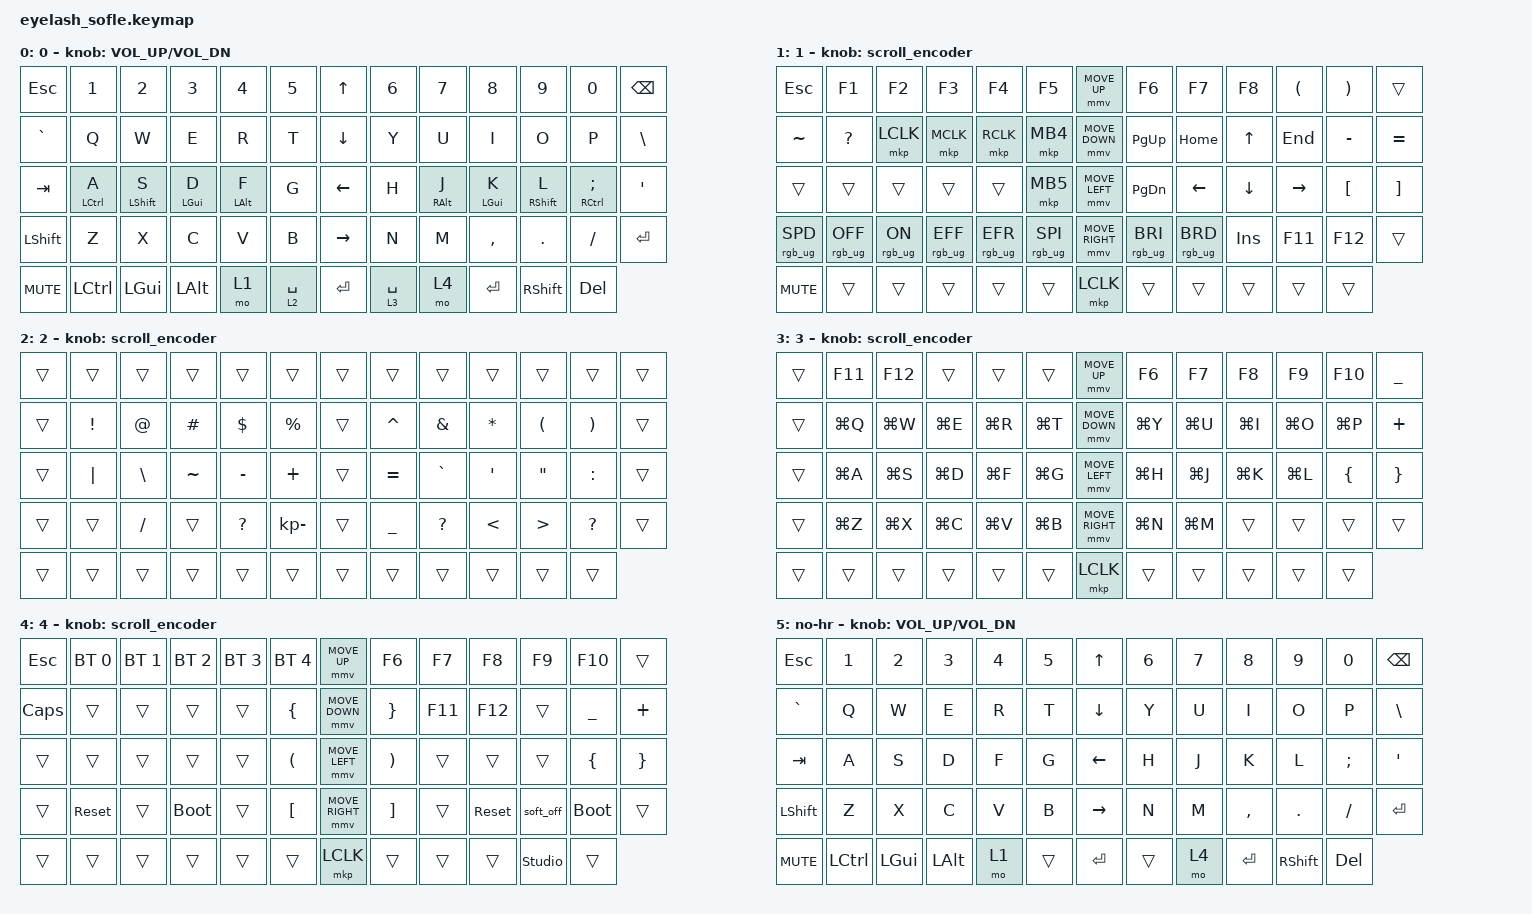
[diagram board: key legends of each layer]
#include <dt-bindings/zmk/mouse.h>
#include <input/processors.dtsi>
#include <behaviors.dtsi>
#include <dt-bindings/zmk/bt.h>
#include <dt-bindings/zmk/keys.h>
#include <dt-bindings/zmk/pointing.h>
#include <dt-bindings/zmk/pointing.h>
#include <dt-bindings/zmk/pointing.h>
#include <dt-bindings/zmk/rgb.h>

/*

   &mmv_input_listener {
       input-processors = <&zip_xy_scaler 2 1>;
   };

   &msc_input_listener {
       input-processors = <&zip_xy_scaler 2 1>;
   };

 */

#define ZMK_MOUSE_DEFAULT_MOVE_VAL 1200  // 600
#define ZMK_MOUSE_DEFAULT_SCRL_VAL 20    // 10

/ {
    behaviors {
        mmv {
            acceleration-exponent = <1>;      // 1
            time-to-max-speed-ms = <900>;    // 40
            delay-ms = <0>;                   // 0
        };

        msc {
            acceleration-exponent = <1>;      // 0
            time-to-max-speed-ms = <400>;      // 500
            delay-ms = <0>;                   //   10
        };
    };

    scroll_encoder: scroll_encoder {
        compatible = "zmk,behavior-sensor-rotate";
        #sensor-binding-cells = <0>;
        bindings = <&msc SCRL_DOWN>, <&msc SCRL_UP>;

        tap-ms = <30>;
    };

    hml: hml {
        compatible = "zmk,behavior-hold-tap";
        label = "HML";
        bindings = <&kp>, <&kp>;

        #binding-cells = <2>;
        tapping-term-ms = <280>;
        quick-tap-ms = <175>;
        require-prior-idle-ms = <150>;
        flavor = "balanced";
        hold-trigger-key-positions = <59 60 46 33 20 7 8 21 8 10 11 12 21 22 23 24 25 34 35 36 37 38 47 48 49 50 51 61 62 63 9>;
        hold-trigger-on-release;
    };

    hmr: hmr {
        compatible = "zmk,behavior-hold-tap";
        label = "HMR";
        bindings = <&kp>, <&kp>;

        #binding-cells = <2>;
        tapping-term-ms = <280>;
        quick-tap-ms = <175>;
        require-prior-idle-ms = <150>;
        flavor = "balanced";
        hold-trigger-key-positions = <0 1 2 3 4 5 13 14 15 16 17 18 26 27 28 29 30 31 39 40 41 42 43 44 53 54 55 56 57 52>;
        hold-trigger-on-release;
    };

    hmmods: hmmods {
        compatible = "zmk,behavior-hold-tap";
        label = "HMMODS";
        bindings = <&kp>, <&kp>;

        #binding-cells = <2>;
        tapping-term-ms = <200>;
        quick-tap-ms = <180>;
        flavor = "tap-preferred";
    };

    combos {
        compatible = "zmk,combos";

        toggle-home-row {
            timeout-ms = <30>;
            bindings = <&tog 5>;
            key-positions = <56 60>;
        };

        left_bracket {
            timeout-ms = <30>;
            bindings = <&kp LEFT_BRACKET>;
            key-positions = <43 44>;
        };

        right_bracket {
            timeout-ms = <30>;
            bindings = <&kp RIGHT_BRACKET>;
            key-positions = <46 47>;
        };

        left_paren {
            timeout-ms = <30>;
            bindings = <&kp LEFT_PARENTHESIS>;
            key-positions = <30 31>;
        };

        right_paren {
            timeout-ms = <30>;
            bindings = <&kp RIGHT_PARENTHESIS>;
            key-positions = <33 34>;
        };

        left_brace {
            timeout-ms = <30>;
            bindings = <&kp LEFT_BRACE>;
            key-positions = <17 18>;
        };

        right_brace {
            timeout-ms = <30>;
            bindings = <&kp RIGHT_BRACE>;
            key-positions = <20 21>;
        };

        pipe {
            timeout-ms = <30>;
            bindings = <&kp PIPE>;
            key-positions = <31 33>;
        };

        back_slash {
            timeout-ms = <30>;
            bindings = <&kp BACKSLASH>;
            key-positions = <18 20>;
        };
    };

    keymap {
        compatible = "zmk,keymap";

        L0 {
            bindings = <
&kp ESC     &kp N1           &kp N2            &kp N3          &kp N4          &kp N5         &kp UP_ARROW     &kp N6       &kp N7          &kp N8          &kp N9            &kp N0              &kp BACKSPACE
&kp GRAVE   &kp Q            &kp W             &kp E           &kp R           &kp T          &kp DOWN_ARROW   &kp Y        &kp U           &kp I           &kp O             &kp P               &kp BSLH
&kp TAB     &hmmods LCTRL A  &hmmods LSHIFT S  &hmmods LGUI D  &hmmods LALT F  &kp G          &kp LEFT_ARROW   &kp H        &hmmods RALT J  &hmmods LGUI K  &hmmods RSHIFT L  &hmmods RCTRL SEMI  &kp APOS
&kp LSHFT   &kp Z            &kp X             &kp C           &kp V           &kp B          &kp RIGHT_ARROW  &kp N        &kp M           &kp COMMA       &kp DOT           &kp FSLH            &kp ENTER
&kp C_MUTE  &kp LCTRL        &kp LEFT_GUI      &kp LEFT_ALT    &mo 1           &lt 2 SPACE    &kp ENTER        &lt 3 SPACE  &mo 4           &kp ENTER       &kp RIGHT_SHIFT   &kp DELETE
            >;

            display-name = "0";
            sensor-bindings = <&inc_dec_kp C_VOLUME_UP C_VOL_DN>;
        };

        L1 {
            bindings = <
&kp ESC          &kp F1           &kp F2          &kp F3           &kp F4           &kp F5             &mmv MOVE_UP     &kp F6           &kp F7           &kp F8      &kp LPAR   &kp RPAR          &trans
&kp TILDE        &kp QMARK        &mkp LCLK       &mkp MCLK        &mkp RCLK        &mkp MB4           &mmv MOVE_DOWN   &kp PG_UP        &kp HOME         &kp UP      &kp END    &kp MINUS         &kp EQUAL
&trans           &trans           &trans          &trans           &trans           &mkp MB5           &mmv MOVE_LEFT   &kp PG_DN        &kp LEFT         &kp DOWN    &kp RIGHT  &kp LEFT_BRACKET  &kp RIGHT_BRACKET
&rgb_ug RGB_SPD  &rgb_ug RGB_OFF  &rgb_ug RGB_ON  &rgb_ug RGB_EFF  &rgb_ug RGB_EFR  &rgb_ug RGB_SPI    &mmv MOVE_RIGHT  &rgb_ug RGB_BRI  &rgb_ug RGB_BRD  &kp INSERT  &kp F11    &kp F12           &trans
&kp C_MUTE       &trans           &trans          &trans           &trans           &trans             &mkp LCLK        &trans           &trans           &trans      &trans     &trans
            >;

            display-name = "1";
            sensor-bindings = <&scroll_encoder>;
        };

        L2 {
            display-name = "2";
            bindings = <
&trans  &trans    &trans         &trans     &trans        &trans          &trans  &trans          &trans        &trans            &trans             &trans        &trans
&trans  &kp EXCL  &kp AT         &kp POUND  &kp DLLR      &kp PERCENT     &trans  &kp CARET       &kp AMPS      &kp STAR          &kp LPAR           &kp RPAR      &trans
&trans  &kp PIPE  &kp BACKSLASH  &kp TILDE  &kp MINUS     &kp PLUS        &trans  &kp EQUAL       &kp GRAVE     &kp SINGLE_QUOTE  &kp DOUBLE_QUOTES  &kp COLON     &trans
&trans  &trans    &kp SLASH      &trans     &kp QUESTION  &kp KP_MINUS    &trans  &kp UNDERSCORE  &kp QUESTION  &kp LESS_THAN     &kp GREATER_THAN   &kp QUESTION  &trans
&trans  &trans    &trans         &trans     &trans        &trans          &trans  &trans          &trans        &trans            &trans             &trans
            >;

            sensor-bindings = <&scroll_encoder>;
        };

        L3 {
            display-name = "3";
            bindings = <
&trans  &kp F11    &kp F12    &trans     &trans     &trans       &mmv MOVE_UP     &kp F6     &kp F7     &kp F8     &kp F9     &kp F10    &kp UNDER
&trans  &kp LG(Q)  &kp LG(W)  &kp LG(E)  &kp LG(R)  &kp LG(T)    &mmv MOVE_DOWN   &kp LG(Y)  &kp LG(U)  &kp LG(I)  &kp LG(O)  &kp LG(P)  &kp PLUS
&trans  &kp LG(A)  &kp LG(S)  &kp LG(D)  &kp LG(F)  &kp LG(G)    &mmv MOVE_LEFT   &kp LG(H)  &kp LG(J)  &kp LG(K)  &kp LG(L)  &kp LBRC   &kp RBRC
&trans  &kp LG(Z)  &kp LG(X)  &kp LG(C)  &kp LG(V)  &kp LG(B)    &mmv MOVE_RIGHT  &kp LG(N)  &kp LG(M)  &trans     &trans     &trans     &trans
&trans  &trans     &trans     &trans     &trans     &trans       &mkp LCLK        &trans     &trans     &trans     &trans     &trans
            >;

            sensor-bindings = <&scroll_encoder>;
        };

        L4 {
            bindings = <
&kp ESC   &bt BT_SEL 0  &bt BT_SEL 1  &bt BT_SEL 2  &bt BT_SEL 3  &bt BT_SEL 4            &mmv MOVE_UP     &kp F6                 &kp F7   &kp F8      &kp F9          &kp F10      &trans
&kp CAPS  &trans        &trans        &trans        &trans        &kp LEFT_BRACE          &mmv MOVE_DOWN   &kp RIGHT_BRACE        &kp F11  &kp F12     &trans          &kp UNDER    &kp PLUS
&trans    &trans        &trans        &trans        &trans        &kp LEFT_PARENTHESIS    &mmv MOVE_LEFT   &kp RIGHT_PARENTHESIS  &trans   &trans      &trans          &kp LBRC     &kp RBRC
&trans    &sys_reset    &trans        &bootloader   &trans        &kp LEFT_BRACKET        &mmv MOVE_RIGHT  &kp RIGHT_BRACKET      &trans   &sys_reset  &soft_off       &bootloader  &trans
&trans    &trans        &trans        &trans        &trans        &trans                  &mkp LCLK        &trans                 &trans   &trans      &studio_unlock  &trans
            >;

            display-name = "4";
            sensor-bindings = <&scroll_encoder>;
        };

        no-hr {
            bindings = <
&kp ESC     &kp N1     &kp N2        &kp N3        &kp N4  &kp N5    &kp UP_ARROW     &kp N6  &kp N7  &kp N8     &kp N9           &kp N0      &kp BACKSPACE
&kp GRAVE   &kp Q      &kp W         &kp E         &kp R   &kp T     &kp DOWN_ARROW   &kp Y   &kp U   &kp I      &kp O            &kp P       &kp BSLH
&kp TAB     &kp A      &kp S         &kp D         &kp F   &kp G     &kp LEFT_ARROW   &kp H   &kp J   &kp K      &kp L            &kp SEMI    &kp APOS
&kp LSHFT   &kp Z      &kp X         &kp C         &kp V   &kp B     &kp RIGHT_ARROW  &kp N   &kp M   &kp COMMA  &kp DOT          &kp FSLH    &kp ENTER
&kp C_MUTE  &kp LCTRL  &kp LEFT_GUI  &kp LEFT_ALT  &mo 1   &trans    &kp ENTER        &trans  &mo 4   &kp ENTER  &kp RIGHT_SHIFT  &kp DELETE
            >;

            sensor-bindings = <&inc_dec_kp C_VOLUME_UP C_VOL_DN>;
            display-name = "no-hr";
        };
    };

    conditional_layers { compatible = "zmk,conditional-layers"; };
};
